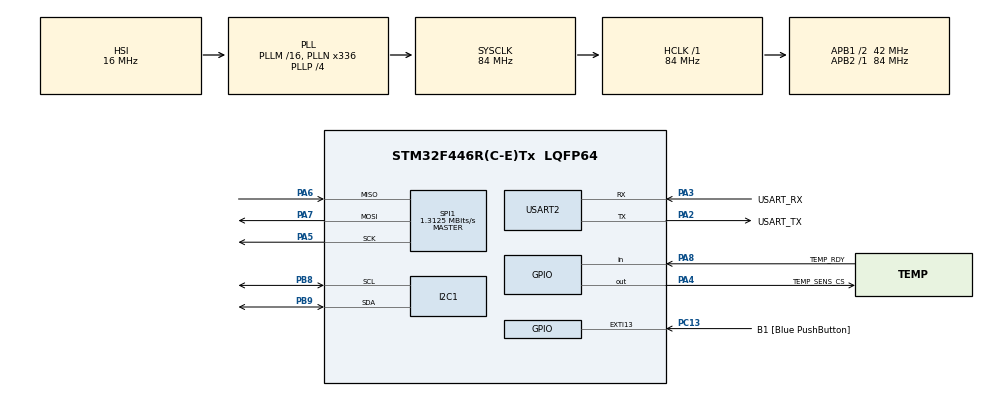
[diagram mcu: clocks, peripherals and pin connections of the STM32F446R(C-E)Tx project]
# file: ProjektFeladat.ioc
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Mcu.Family=STM32F4
Mcu.Name=STM32F446R(C-E)Tx
Mcu.Package=LQFP64
NVIC.PriorityGroup=NVIC_PRIORITYGROUP_0
NVIC.TIM3_IRQn=true\:0\:0\:false\:false\:true\:true\:true\:true
NVIC.USART2_IRQn=true\:0\:0\:false\:false\:true\:true\:true\:true
PA13.GPIO_Label=TMS
PA13.Mode=Serial_Wire
PA13.Signal=SYS_JTMS-SWDIO
PA14.GPIO_Label=TCK
PA14.Mode=Serial_Wire
PA14.Signal=SYS_JTCK-SWCLK
PA2.GPIO_Label=USART_TX
PA2.Mode=Asynchronous
PA2.Signal=USART2_TX
PA3.GPIO_Label=USART_RX
PA3.Mode=Asynchronous
PA3.Signal=USART2_RX
PA4.GPIO_Label=TEMP_SENS_CS
PA4.Signal=GPIO_Output
PA5.Mode=Full_Duplex_Master
PA5.Signal=SPI1_SCK
PA6.Mode=Full_Duplex_Master
PA6.Signal=SPI1_MISO
PA7.Mode=Full_Duplex_Master
PA7.Signal=SPI1_MOSI
PA8.GPIO_Label=TEMP_RDY
PA8.Signal=GPIO_Input
PB3.GPIO_Label=SWO
PB3.Signal=SYS_JTDO-SWO
PB8.Mode=I2C
PB8.Signal=I2C1_SCL
PB9.Mode=I2C
PB9.Signal=I2C1_SDA
PC13.GPIO_Label=B1 [Blue PushButton]
PC13.GPIO_ModeDefaultEXTI=GPIO_MODE_IT_FALLING
PC13.Signal=GPXTI13
PC14-OSC32_IN.Mode=LSE-External-Oscillator
PC14-OSC32_IN.Signal=RCC_OSC32_IN
PC15-OSC32_OUT.Mode=LSE-External-Oscillator
PC15-OSC32_OUT.Signal=RCC_OSC32_OUT
PH0-OSC_IN.Mode=HSE-External-Oscillator
PH0-OSC_IN.Signal=RCC_OSC_IN
PH1-OSC_OUT.Mode=HSE-External-Oscillator
PH1-OSC_OUT.Signal=RCC_OSC_OUT
ProjectManager.HeapSize=0x200
ProjectManager.StackSize=0x400
ProjectManager.TargetToolchain=STM32CubeIDE
RCC.48MHZClocksFreq_Value=84000000
RCC.AHBFreq_Value=84000000
RCC.APB1CLKDivider=RCC_HCLK_DIV2
RCC.APB1Freq_Value=42000000
RCC.APB1TimFreq_Value=84000000
RCC.APB2Freq_Value=84000000
RCC.APB2TimFreq_Value=84000000
RCC.CortexFreq_Value=84000000
RCC.FLatency-AdvancedSettings=FLASH_LATENCY_2
RCC.HCLKFreq_Value=84000000
RCC.HSE_VALUE=8000000
RCC.HSI_VALUE=16000000
RCC.PLLN=336
RCC.PLLP=RCC_PLLP_DIV4
RCC.SYSCLKFreq_VALUE=84000000
RCC.SYSCLKSource=RCC_SYSCLKSOURCE_PLLCLK
RCC.USBFreq_Value=168000000
RCC.VCOOutputFreq_Value=336000000
SPI1.BaudRatePrescaler=SPI_BAUDRATEPRESCALER_64
SPI1.CLKPhase=SPI_PHASE_2EDGE
SPI1.CalculateBaudRate=1.3125 MBits/s
SPI1.Direction=SPI_DIRECTION_2LINES
SPI1.Mode=SPI_MODE_MASTER
SPI1.VirtualType=VM_MASTER
TIM3.Period=10000-1
TIM3.Prescaler=8400-1
USART2.VirtualMode=VM_ASYNC
VP_TIM3_VS_ClockSourceINT.Mode=Internal
board=NUCLEO-F446RE

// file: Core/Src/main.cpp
/* USER CODE BEGIN Header */
/**
  ******************************************************************************
  * @file           : main.c
  * @brief          : Main program body
  ******************************************************************************
  * @attention
  *
  * Copyright (c) 2024 STMicroelectronics.
  * All rights reserved.
  *
  * This software is licensed under terms that can be found in the LICENSE file
  * in the root directory of this software component.
  * If no LICENSE file comes with this software, it is provided AS-IS.
  *
  ******************************************************************************
  */
/* USER CODE END Header */
#include "main.h"

/* USER CODE BEGIN Includes */
#include "GPIO.hpp"
#include "MAX31865.hpp"
#include "MS.hpp"
#include "stdio.h"
#include "string.h"
#include <inttypes.h>
/* USER CODE END Includes */

/* USER CODE BEGIN PTD */

typedef enum{
	MEAS,
	COMM
} states;

typedef enum{
	IDLE,
	INIT,
	READOUT,
} commStates;

/* USER CODE END PTD */

/* USER CODE BEGIN PD */
#define Buffer_Size 100
/* USER CODE END PD */

I2C_HandleTypeDef hi2c1;

SPI_HandleTypeDef hspi1;

TIM_HandleTypeDef htim3;

UART_HandleTypeDef huart2;

/* USER CODE BEGIN PV */
uint32_t measFrequency = 3; //[s]
uint32_t idleTime = 0;
MeasEntry currentMeas;

char commandBuffer[Buffer_Size];
char argBuffer[Buffer_Size];

uint32_t timerInterruptCntr = 0;
bool timeInterruptTick = false;

bool displayMeas = true;

states currentState = MEAS;
const char* MEAS_command = "enterMeas";
const char* COMM_command = "enterComm";
const char* GETSTATE_command = "getState";
const char* WHOAMI_command = "whoami";
const char* FREQ_command = "setFrequency";
const char* DISPLAYMEAS_command = "displayMeas";
const char* DISPLAYMEAS_arg_true = "ON";
const char* DISPLAYMEAS_arg_false = "OFF";

commStates currentCommState = IDLE;
const char* CommIDLE_command = "IDLE";
const char* CommINIT_command = "INIT";
const char* CommREADOUT_command = "READOUT";

uint64_t initTimeastamp = 0;

bool measCommand = false;
bool sendComplete = true;

char msg[Buffer_Size];
uint8_t RxData[Buffer_Size];
uint8_t tmp[2];
uint8_t FinalData[Buffer_Size];
uint8_t idx = 0;

GPIO TEMP_SENS_CS(TEMP_SENS_CS_GPIO_Port, TEMP_SENS_CS_Pin);
GPIO TEMP_RDY(TEMP_RDY_GPIO_Port, TEMP_RDY_Pin);

MAX31865 myPT100(&hspi1, &TEMP_SENS_CS, &TEMP_RDY);
MeasurementStorage myMS(&hi2c1, 80);
/* USER CODE END PV */

void SystemClock_Config(void);
static void MX_GPIO_Init(void);
static void MX_USART2_UART_Init(void);
static void MX_I2C1_Init(void);
static void MX_SPI1_Init(void);
static void MX_TIM3_Init(void);
/* USER CODE BEGIN PFP */
void i2cScann(I2C_HandleTypeDef *hi2c_p, uint8_t* devicesBuffer_p)
{
	HAL_StatusTypeDef status;

	for(uint8_t i = 0; i<128; i++){ devicesBuffer_p[i] = 0; }

	uint8_t j = 0;
	for(uint8_t i = 0; i<128; i++)
	{
		status = HAL_I2C_IsDeviceReady(hi2c_p, i<<1, 2, 100);
		if(status == HAL_OK)
		{
			devicesBuffer_p[j] = i;
			j++;
		}
	}
}

void handleMessage()
{

	uint8_t matchResult = sscanf((const char*)FinalData, "%s %s", commandBuffer, argBuffer);

	if(matchResult > 0)
	{
		if( strcmp((const char*) commandBuffer, MEAS_command) == 0)
		{
			currentState = MEAS;
		}
		else if( strcmp((const char*) commandBuffer, COMM_command) == 0)
		{
			currentState = COMM;
		}

		else if( strcmp((const char*) commandBuffer, GETSTATE_command) == 0)
		{
			switch (currentState)
			{
				case MEAS:
					snprintf(msg, Buffer_Size, "MEAS\r\n");
					break;
				case COMM:
					snprintf(msg, Buffer_Size, "COMM\r\n");
					break;
				default:
					break;
			}
			HAL_UART_Transmit(&huart2, (uint8_t*)msg, strlen(msg), HAL_MAX_DELAY);
		}
		else if( strcmp((const char*) commandBuffer, WHOAMI_command) == 0)
		{
			snprintf(msg, Buffer_Size, "MEAS_STATION\r\n");

			HAL_UART_Transmit(&huart2, (uint8_t*)msg, strlen(msg), HAL_MAX_DELAY);
		}
		else if( strcmp((const char*) commandBuffer, DISPLAYMEAS_command) == 0)
		{
			if(strcmp((const char*) argBuffer, DISPLAYMEAS_arg_true) == 0)
			{
				displayMeas = true;
			}
			else if(strcmp((const char*) argBuffer, DISPLAYMEAS_arg_false) == 0)
			{
				displayMeas = false;
			}
		}
		else if(matchResult == 2 && strcmp((const char*) commandBuffer, FREQ_command) == 0)
		{
			sscanf((const char*)argBuffer, "%lu", &measFrequency);
		}

		//If already in COMM accept COMM command
		else if(currentState == COMM)
		{
			if( strcmp((const char*) commandBuffer, CommIDLE_command) == 0)
			{
				currentCommState = IDLE;
			}
			else if( strcmp((const char*) commandBuffer, CommREADOUT_command) == 0)
			{
				currentCommState = READOUT;
			}
			if(matchResult == 2 && strcmp((const char*) commandBuffer, CommINIT_command) == 0)
			{
				if( sscanf((const char*)argBuffer, "%llu", &initTimeastamp) == 1)
				{
					currentCommState = INIT;
				}
			}
		}
	}//matchresult
}

void HAL_UART_TxCpltCallback(UART_HandleTypeDef *huart)
{
	sendComplete = true;
}

void HAL_UART_RxCpltCallback(UART_HandleTypeDef *huart)
{
    if (huart->Instance == USART2) // Ellenőrizni, hogy melyik UART periféria váltotta ki a megszakítást
    {
    	if(idx > Buffer_Size)
    	{
    		idx = 0;
    	}

    	memcpy(RxData+idx, tmp, 1);
    	idx++;

    	if (tmp[0] == '\r')
    	{
    		RxData[idx-1] = '\0';//change \r to \0
    		memcpy(FinalData, RxData, Buffer_Size);
    		idx = 0;
    		handleMessage();
    	}

    	HAL_UART_Receive_IT(&huart2, tmp, 1);

    }
}

void HAL_GPIO_EXTI_Callback(uint16_t GPIO_Pin)
{
  HAL_ResumeTick();
}
/* USER CODE END PFP */

int main(void)
{

  /* MCU Configuration--------------------------------------------------------*/

  /* Reset of all peripherals, Initializes the Flash interface and the Systick. */
  HAL_Init();

  /* Configure the system clock */
  SystemClock_Config();

  /* Initialize all configured peripherals */
  MX_GPIO_Init();
  MX_USART2_UART_Init();
  MX_I2C1_Init();
  MX_SPI1_Init();
  MX_TIM3_Init();
  /* USER CODE BEGIN 2 */

  myPT100.init();
  myPT100.startContinousMeas();

  uint8_t devices[128];
  i2cScann(&hi2c1, devices);

/*
  deleteRegion(&hi2c1, 80, 0, 256, 128);

  uint8_t firstTwoPage0[256];
  uint8_t firstTwoPage1[256];
  uint8_t EEPROM_ADDRESS = 80;
  uint16_t memAddress = 0;

  readFromEEPROM(&hi2c1, EEPROM_ADDRESS<<1, memAddress, sizeof(memAddress), firstTwoPage0, sizeof(firstTwoPage0), HAL_MAX_DELAY);

  myMS.init(12345678987654321012);

  MeasEntry newEntry =
  {
		  .measID = 3,
		  .deltaT = 12345,
		  .measData = 7891
  };

  myMS.addEntry(newEntry);
  MeasEntry fetchedEntry;
  myMS.getEntryAt(0, &fetchedEntry);

  readFromEEPROM(&hi2c1, EEPROM_ADDRESS<<1, memAddress, sizeof(memAddress), firstTwoPage1, sizeof(firstTwoPage1), HAL_MAX_DELAY);

  */

  HAL_UART_Receive_IT(&huart2, tmp, 1);

  bool onEntry_meas = true;
  bool onEntry_comm = true;
  /* USER CODE END 2 */

  /* Infinite loop */
  /* USER CODE BEGIN WHILE */
  MeasEntry entryBuffer;
  while (1)
  {
	  //@todo: bosch laptopból kinézni hogyan is volt a %llu, illetve a command - argument dolog, hogy tudjak initelni
    /* USER CODE END WHILE */

    /* USER CODE BEGIN 3 */
	  /* switch-case -> állapotgép
	   * az állapotot lehessen lekérdezni is, ezt a beérkező parancsokat kezelő fgv.-ben kell kezelni.
	   *
	   * */
		switch (currentState)
		{
			case MEAS:
			{
				if(onEntry_meas)//Start the timer
				{
					HAL_TIM_Base_Start_IT(&htim3);
					onEntry_meas = false;
					onEntry_comm = true;
					currentCommState = IDLE; //The next time COMM state is entered it will be idle
				}

				if(timeInterruptTick)//Storing the Data
				{
					float tempMeas = myPT100.getTemp();
					uint32_t data32;
					memcpy(&data32, (const float*)&tempMeas, sizeof(uint32_t));

					if(displayMeas)
					{
						snprintf(msg, Buffer_Size, "%0.3f \r\n", tempMeas);
						HAL_UART_Transmit(&huart2, (uint8_t*)msg, strlen(msg), HAL_MAX_DELAY);
					}

					currentMeas.measID = 1;
					currentMeas.deltaT = measFrequency+idleTime;
					idleTime = 0;
					currentMeas.measData = data32;

					myMS.addEntry(currentMeas);

					timeInterruptTick = false;
				}

				//Enter sleep mode
				HAL_SuspendTick();
				HAL_PWR_EnterSLEEPMode(PWR_MAINREGULATOR_ON, PWR_SLEEPENTRY_WFI);
				//...
				HAL_ResumeTick();

				break;
			}
			case COMM:
			{
				if(onEntry_comm)
				{
					//HAL_TIM_Base_Stop_IT(&htim3);
					onEntry_meas = true;
					onEntry_comm = false;
				}

				switch (currentCommState)
				{
					case IDLE:
						//do nothing
						break;
					case INIT:
					{
						myMS.init(initTimeastamp);
						currentCommState = IDLE;
						break;
					}
					case READOUT:
					{
						uint16_t cnt = 0;
						sniprintf(msg, Buffer_Size, "%llu; %u;\r\n", myMS.readTimestamp(), myMS.readCounter());
						HAL_UART_Transmit(&huart2, (uint8_t*)msg, strlen(msg), HAL_MAX_DELAY);
						while(true)
						{
							if( !myMS.getEntryAt(cnt, &entryBuffer) )
							{
								break;
							}
							else
							{
								cnt++;
								snprintf(msg, Buffer_Size, "%u, %u, %lu;\r\n", entryBuffer.measID, entryBuffer.deltaT, entryBuffer.measData);
								HAL_UART_Transmit(&huart2, (uint8_t*)msg, strlen(msg), HAL_MAX_DELAY);
							}
						}
						snprintf(msg, Buffer_Size, "END\r\n");
						HAL_UART_Transmit(&huart2, (uint8_t*)msg, strlen(msg), HAL_MAX_DELAY);
						currentCommState = IDLE;
						break;
					}
					default:
						break;
				}
			}
				break;
			default:
				break;
		}

  }
  /* USER CODE END 3 */
}

void SystemClock_Config(void)
{
  RCC_OscInitTypeDef RCC_OscInitStruct = {0};
  RCC_ClkInitTypeDef RCC_ClkInitStruct = {0};

  /** Configure the main internal regulator output voltage
  */
  __HAL_RCC_PWR_CLK_ENABLE();
  __HAL_PWR_VOLTAGESCALING_CONFIG(PWR_REGULATOR_VOLTAGE_SCALE3);

  /** Initializes the RCC Oscillators according to the specified parameters
  * in the RCC_OscInitTypeDef structure.
  */
  RCC_OscInitStruct.OscillatorType = RCC_OSCILLATORTYPE_HSI;
  RCC_OscInitStruct.HSIState = RCC_HSI_ON;
  RCC_OscInitStruct.HSICalibrationValue = RCC_HSICALIBRATION_DEFAULT;
  RCC_OscInitStruct.PLL.PLLState = RCC_PLL_ON;
  RCC_OscInitStruct.PLL.PLLSource = RCC_PLLSOURCE_HSI;
  RCC_OscInitStruct.PLL.PLLM = 16;
  RCC_OscInitStruct.PLL.PLLN = 336;
  RCC_OscInitStruct.PLL.PLLP = RCC_PLLP_DIV4;
  RCC_OscInitStruct.PLL.PLLQ = 2;
  RCC_OscInitStruct.PLL.PLLR = 2;
  if (HAL_RCC_OscConfig(&RCC_OscInitStruct) != HAL_OK)
  {
    Error_Handler();
  }

  /** Initializes the CPU, AHB and APB buses clocks
  */
  RCC_ClkInitStruct.ClockType = RCC_CLOCKTYPE_HCLK|RCC_CLOCKTYPE_SYSCLK
                              |RCC_CLOCKTYPE_PCLK1|RCC_CLOCKTYPE_PCLK2;
  RCC_ClkInitStruct.SYSCLKSource = RCC_SYSCLKSOURCE_PLLCLK;
  RCC_ClkInitStruct.AHBCLKDivider = RCC_SYSCLK_DIV1;
  RCC_ClkInitStruct.APB1CLKDivider = RCC_HCLK_DIV2;
  RCC_ClkInitStruct.APB2CLKDivider = RCC_HCLK_DIV1;

  if (HAL_RCC_ClockConfig(&RCC_ClkInitStruct, FLASH_LATENCY_2) != HAL_OK)
  {
    Error_Handler();
  }
}

static void MX_I2C1_Init(void)
{

  hi2c1.Instance = I2C1;
  hi2c1.Init.ClockSpeed = 100000;
  hi2c1.Init.DutyCycle = I2C_DUTYCYCLE_2;
  hi2c1.Init.OwnAddress1 = 0;
  hi2c1.Init.AddressingMode = I2C_ADDRESSINGMODE_7BIT;
  hi2c1.Init.DualAddressMode = I2C_DUALADDRESS_DISABLE;
  hi2c1.Init.OwnAddress2 = 0;
  hi2c1.Init.GeneralCallMode = I2C_GENERALCALL_DISABLE;
  hi2c1.Init.NoStretchMode = I2C_NOSTRETCH_DISABLE;
  if (HAL_I2C_Init(&hi2c1) != HAL_OK)
  {
    Error_Handler();
  }

}

static void MX_SPI1_Init(void)
{

  /* SPI1 parameter configuration*/
  hspi1.Instance = SPI1;
  hspi1.Init.Mode = SPI_MODE_MASTER;
  hspi1.Init.Direction = SPI_DIRECTION_2LINES;
  hspi1.Init.DataSize = SPI_DATASIZE_8BIT;
  hspi1.Init.CLKPolarity = SPI_POLARITY_LOW;
  hspi1.Init.CLKPhase = SPI_PHASE_2EDGE;
  hspi1.Init.NSS = SPI_NSS_SOFT;
  hspi1.Init.BaudRatePrescaler = SPI_BAUDRATEPRESCALER_64;
  hspi1.Init.FirstBit = SPI_FIRSTBIT_MSB;
  hspi1.Init.TIMode = SPI_TIMODE_DISABLE;
  hspi1.Init.CRCCalculation = SPI_CRCCALCULATION_DISABLE;
  hspi1.Init.CRCPolynomial = 10;
  if (HAL_SPI_Init(&hspi1) != HAL_OK)
  {
    Error_Handler();
  }

}

static void MX_TIM3_Init(void)
{

  TIM_ClockConfigTypeDef sClockSourceConfig = {0};
  TIM_MasterConfigTypeDef sMasterConfig = {0};

  htim3.Instance = TIM3;
  htim3.Init.Prescaler = 8400-1;
  htim3.Init.CounterMode = TIM_COUNTERMODE_UP;
  htim3.Init.Period = 10000-1;
  htim3.Init.ClockDivision = TIM_CLOCKDIVISION_DIV1;
  htim3.Init.AutoReloadPreload = TIM_AUTORELOAD_PRELOAD_DISABLE;
  if (HAL_TIM_Base_Init(&htim3) != HAL_OK)
  {
    Error_Handler();
  }
  sClockSourceConfig.ClockSource = TIM_CLOCKSOURCE_INTERNAL;
  if (HAL_TIM_ConfigClockSource(&htim3, &sClockSourceConfig) != HAL_OK)
  {
    Error_Handler();
  }
  sMasterConfig.MasterOutputTrigger = TIM_TRGO_RESET;
  sMasterConfig.MasterSlaveMode = TIM_MASTERSLAVEMODE_DISABLE;
  if (HAL_TIMEx_MasterConfigSynchronization(&htim3, &sMasterConfig) != HAL_OK)
  {
    Error_Handler();
  }

}

static void MX_USART2_UART_Init(void)
{

  huart2.Instance = USART2;
  huart2.Init.BaudRate = 115200;
  huart2.Init.WordLength = UART_WORDLENGTH_8B;
  huart2.Init.StopBits = UART_STOPBITS_1;
  huart2.Init.Parity = UART_PARITY_NONE;
  huart2.Init.Mode = UART_MODE_TX_RX;
  huart2.Init.HwFlowCtl = UART_HWCONTROL_NONE;
  huart2.Init.OverSampling = UART_OVERSAMPLING_16;
  if (HAL_UART_Init(&huart2) != HAL_OK)
  {
    Error_Handler();
  }

}

static void MX_GPIO_Init(void)
{
  GPIO_InitTypeDef GPIO_InitStruct = {0};

  /* GPIO Ports Clock Enable */
  __HAL_RCC_GPIOC_CLK_ENABLE();
  __HAL_RCC_GPIOH_CLK_ENABLE();
  __HAL_RCC_GPIOA_CLK_ENABLE();
  __HAL_RCC_GPIOB_CLK_ENABLE();

  /*Configure GPIO pin Output Level */
  HAL_GPIO_WritePin(TEMP_SENS_CS_GPIO_Port, TEMP_SENS_CS_Pin, GPIO_PIN_RESET);

  /*Configure GPIO pin : B1_Pin */
  GPIO_InitStruct.Pin = B1_Pin;
  GPIO_InitStruct.Mode = GPIO_MODE_IT_FALLING;
  GPIO_InitStruct.Pull = GPIO_NOPULL;
  HAL_GPIO_Init(B1_GPIO_Port, &GPIO_InitStruct);

  /*Configure GPIO pin : TEMP_SENS_CS_Pin */
  GPIO_InitStruct.Pin = TEMP_SENS_CS_Pin;
  GPIO_InitStruct.Mode = GPIO_MODE_OUTPUT_PP;
  GPIO_InitStruct.Pull = GPIO_NOPULL;
  GPIO_InitStruct.Speed = GPIO_SPEED_FREQ_LOW;
  HAL_GPIO_Init(TEMP_SENS_CS_GPIO_Port, &GPIO_InitStruct);

  /*Configure GPIO pin : TEMP_RDY_Pin */
  GPIO_InitStruct.Pin = TEMP_RDY_Pin;
  GPIO_InitStruct.Mode = GPIO_MODE_INPUT;
  GPIO_InitStruct.Pull = GPIO_NOPULL;
  HAL_GPIO_Init(TEMP_RDY_GPIO_Port, &GPIO_InitStruct);

}

/* USER CODE BEGIN 4 */
void HAL_TIM_PeriodElapsedCallback(TIM_HandleTypeDef *htim)
{
	if(htim == &htim3)
	{
		timerInterruptCntr++;
		if(currentState != MEAS)
		{
			idleTime++;
		}
		if(( (timerInterruptCntr % measFrequency) == 0 ) && currentState == MEAS)
		{
			timeInterruptTick = true;
			timerInterruptCntr = 0;
		}
		/*char msg2[20];
		snprintf(msg2, 20, "Interrupt Called\r\n");
		HAL_UART_Transmit(&huart2, (uint8_t*)msg2, 20, HAL_MAX_DELAY);*/
	}
}
/* USER CODE END 4 */

void Error_Handler(void)
{
  __disable_irq();
  while (1)
  {
  }
}
